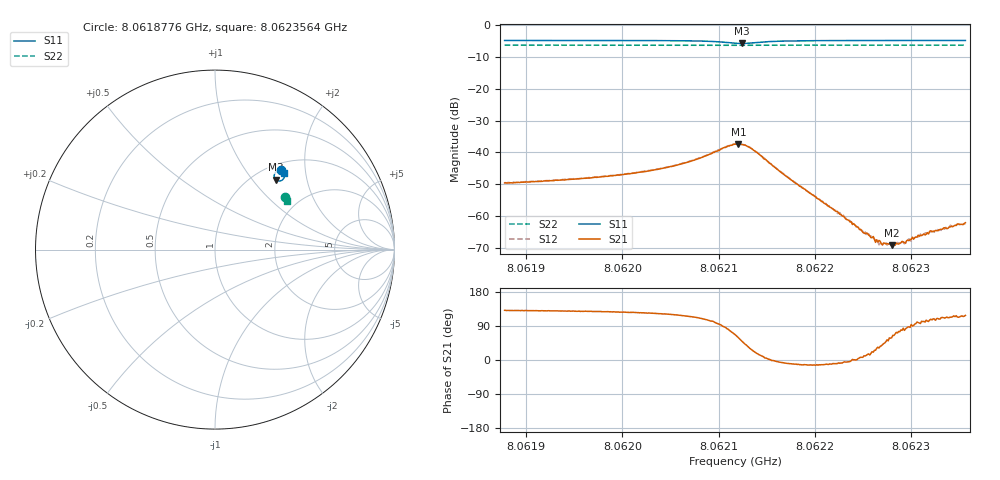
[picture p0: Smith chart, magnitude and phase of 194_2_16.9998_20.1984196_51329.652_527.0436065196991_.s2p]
#  HZ  S  RI  R  50.00
! Rohde & Schwarz Vector Network Analyzer
! Rohde-Schwarz,ZNB20-2Port,1311601062101988,3.16
! Created: UTC 3/20/2024, 11:00:47 PM
! freq[Hz]  re:S11  im:S11  re:S21  im:S21  re:S12  im:S12  re:S22  im:S22
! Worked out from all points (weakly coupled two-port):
!   401 points, 8.0618776 GHz to 8.0623564 GHz, reference 50 ohm
!   highest |S21| = -37.31 dB at 8.0621206 GHz (marker M1); lowest = -69.2 dB at 8.0622798 GHz (marker M2)
!   lowest |S11| = -5.7 dB at 8.0621242 GHz (marker M3), VSWR 3.14, Z = 62.3 + j66.2 ohm
!   |S11| at or under -10 dB: nowhere
!   |S22| runs from -6.3 to -6.3 dB; largest |S21 - S12| = 0.0011
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8.0618776e9  0.3684 0.4424  -0.00218 0.0025  -0.00202 0.00268  0.3874 0.294
8.0619578e9  0.3747 0.4364  -0.00244 0.00304  -0.00223 0.0032  0.3902 0.2901
8.06200567e9  0.3792 0.4314  -0.00268 0.00374  -0.00252 0.00393  0.392 0.2878
8.06203799e9  0.3827 0.4262  -0.00292 0.00463  -0.00265 0.00486  0.3929 0.2859
8.06207629e9  0.3864 0.4131  -0.00297 0.00714  -0.00251 0.00739  0.394 0.2835
8.06211699e9  0.3548 0.3825  0.00521 0.0124  0.00608 0.0122  0.3935 0.2809
8.06212058e9  0.3465 0.3848  0.0072 0.0116  0.00776 0.0112  0.3934 0.2808
8.06212417e9  0.339 0.3896  0.00862 0.0101  0.00924 0.00976  0.3932 0.281
8.06213734e9  0.3302 0.4167  0.00985 0.00385  0.0102 0.00328  0.3936 0.2818
8.06217205e9  0.3556 0.4393  0.00397 -0.000643  0.00396 -0.000906  0.3961 0.2808
8.06219719e9  0.3654 0.4387  0.0021 -0.000505  0.00211 -0.000616  0.3974 0.2795
8.06223549e9  0.3735 0.4357  0.00084 -6.46e-05  0.000863 -0.000122  0.3989 0.2773
8.06224866e9  0.3753 0.4347  0.000583 7.45e-05  0.000595 5.22e-05  0.3994 0.2767
8.06225703e9  0.3766 0.434  0.000479 0.000112  0.000456 0.000137  0.3997 0.2762
8.06226541e9  0.3776 0.4335  0.000324 0.000217  0.000348 0.000187  0.4 0.2757
8.06227738e9  0.3789 0.4326  0.00019 0.000308  0.000225 0.000285  0.4004 0.2752
8.06227978e9  0.379 0.4325  0.00018 0.000294  0.000192 0.000291  0.4003 0.275
8.06229534e9  0.3807 0.4314  3.92e-05 0.000407  3.06e-05 0.000415  0.401 0.2743
8.06230372e9  0.3815 0.4308  -3.56e-05 0.000454  -1.47e-05 0.000459  0.4013 0.2738
8.06232167e9  0.383 0.4298  -0.000153 0.000543  -0.000138 0.000556  0.4018 0.2729
8.06234321e9  0.3849 0.4282  -0.000281 0.000618  -0.000241 0.000645  0.4026 0.2718
8.06235638e9  0.3858 0.4275  -0.000363 0.000694  -0.000302 0.000695  0.403 0.2712
